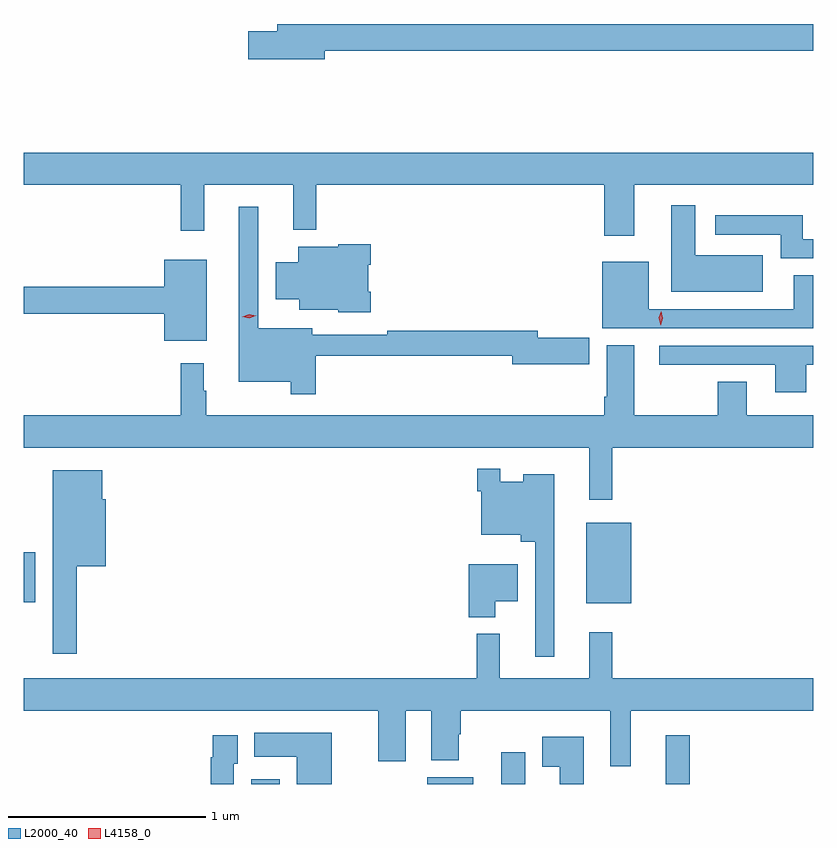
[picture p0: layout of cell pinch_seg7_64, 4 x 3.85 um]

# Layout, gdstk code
import gdstk
lib = gdstk.Library(unit=1e-6, precision=1e-09)
def R(c, l, rs):  # rectangles x0, y0, x1, y1
    for r in rs: c.add(gdstk.rectangle(r[:2], r[2:], *l))
def P(c, l, *ps):  # polygons
    for p in ps: c.add(gdstk.Polygon(p, *l))
L2000_40 = (2000, 40)
L4158_0 = (4158, 0)

pinch_seg7_64 = lib.new_cell('pinch_seg7_64')
R(pinch_seg7_64, L2000_40, [(970.325,1069.508,970.468,1069.531), (971.216,1069.508,971.449,1069.543), (971.591,1069.508,971.713,1069.669), (972.425,1069.508,972.547,1069.756), (972.023,1070.423,972.25,1070.833), (969.172,1070.429,969.229,1070.683)])
P(pinch_seg7_64, L2000_40, [(970.696,1073.224),(973.172,1073.224),(973.172,1073.36),(970.457,1073.36),(970.457,1073.324),(970.308,1073.324),(970.308,1073.182),(970.696,1073.182)],
  [(972.265,1072.544),(973.172,1072.544),(973.172,1072.708),(969.172,1072.708),(969.172,1072.544),(969.967,1072.544),(969.967,1072.311),(970.085,1072.311),(970.085,1072.544),(970.538,1072.544),(970.538,1072.316),(970.655,1072.316),(970.655,1072.544),(972.113,1072.544),(972.113,1072.287),(972.265,1072.287)],
  [(972.916,1072.189),(972.574,1072.189),(972.574,1072.441),(972.452,1072.441),(972.452,1072.004),(972.916,1072.004)],
  [(970.652,1071.678),(971.648,1071.678),(971.648,1071.635),(972.037,1071.635),(972.037,1071.77),(971.776,1071.77),(971.776,1071.806),(971.014,1071.806),(971.014,1071.786),(970.633,1071.786),(970.633,1071.817),(970.359,1071.817),(970.359,1072.435),(970.262,1072.435),(970.262,1071.548),(970.524,1071.548),(970.524,1071.483),(970.652,1071.483)],
  [(973.172,1072.269),(973.12,1072.269),(973.12,1072.39),(972.675,1072.39),(972.675,1072.293),(973.007,1072.293),(973.007,1072.173),(973.172,1072.173)],
  [(970.931,1072.003),(970.918,1072.003),(970.918,1072.139),(970.931,1072.139),(970.931,1072.243),(970.764,1072.243),(970.764,1072.231),(970.562,1072.231),(970.562,1072.153),(970.448,1072.153),(970.448,1071.965),(970.568,1071.965),(970.568,1071.911),(970.764,1071.911),(970.764,1071.899),(970.931,1071.899)],
  [(970.099,1072.165),(969.884,1072.165),(969.884,1072.028),(969.172,1072.028),(969.172,1071.892),(969.884,1071.892),(969.884,1071.755),(970.099,1071.755)],
  [(973.172,1072.087),(973.073,1072.087),(973.073,1071.915),(972.34,1071.915),(972.34,1072.156),(972.104,1072.156),(972.104,1071.819),(973.172,1071.819)],
  [(972.155,1071.212),(973.172,1071.212),(973.172,1071.376),(972.835,1071.376),(972.835,1071.548),(972.688,1071.548),(972.688,1071.376),(972.265,1071.376),(972.265,1071.733),(972.125,1071.733),(972.125,1071.472),(972.113,1071.472),(972.113,1071.376),(970.096,1071.376),(970.096,1071.5),(970.084,1071.5),(970.084,1071.64),(969.967,1071.64),(969.967,1071.376),(969.172,1071.376),(969.172,1071.212),(972.038,1071.212),(972.038,1070.949),(972.155,1070.949)],
  [(973.138,1071.633),(973.172,1071.633),(973.172,1071.729),(972.393,1071.729),(972.393,1071.633),(972.98,1071.633),(972.98,1071.494),(973.138,1071.494)],
  [(971.86,1071.079),(971.702,1071.079),(971.702,1071.04),(971.586,1071.04),(971.586,1071.106),(971.47,1071.106),(971.47,1070.993),(971.49,1070.993),(971.49,1070.771),(971.69,1070.771),(971.69,1070.735),(971.763,1070.735),(971.763,1070.154),(971.86,1070.154)],
  [(969.439,1070.612),(969.586,1070.612),(969.586,1070.952),(969.568,1070.952),(969.568,1071.097),(969.317,1071.097),(969.317,1070.169),(969.439,1070.169)],
  [(971.56,1070.435),(971.674,1070.435),(971.674,1070.623),(971.426,1070.623),(971.426,1070.354),(971.56,1070.354)],
  [(972.038,1070.278),(972.038,1070.044),(971.585,1070.044),(971.585,1070.269),(971.467,1070.269),(971.467,1070.044),(969.172,1070.044),(969.172,1069.88),(970.967,1069.88),(970.967,1069.623),(971.107,1069.623),(971.107,1069.88),(971.237,1069.88),(971.237,1069.628),(971.377,1069.628),(971.377,1069.76),(971.385,1069.76),(971.385,1069.88),(972.143,1069.88),(972.143,1069.599),(972.247,1069.599),(972.247,1069.88),(973.172,1069.88),(973.172,1070.044),(972.155,1070.044),(972.155,1070.278)],
  [(970.732,1069.768),(970.34,1069.768),(970.34,1069.646),(970.556,1069.646),(970.556,1069.508),(970.732,1069.508)],
  [(970.236,1069.611),(970.255,1069.611),(970.255,1069.756),(970.128,1069.756),(970.128,1069.643),(970.12,1069.643),(970.12,1069.508),(970.236,1069.508)],
  [(972.01,1069.747),(971.798,1069.747),(971.798,1069.595),(971.888,1069.595),(971.888,1069.508),(972.01,1069.508)])
P(pinch_seg7_64, L4158_0, [(972.399,1071.833),(972.399,1071.833),(972.39,1071.87),(972.402,1071.905),(972.402,1071.905),(972.402,1071.905),(972.41,1071.869),(972.399,1071.833)],
  [(970.314,1071.869),(970.278,1071.876),(970.278,1071.877),(970.278,1071.877),(970.313,1071.889),(970.348,1071.882),(970.349,1071.881),(970.348,1071.881)])

lib.write_gds('pinch_seg7_64.gds')
